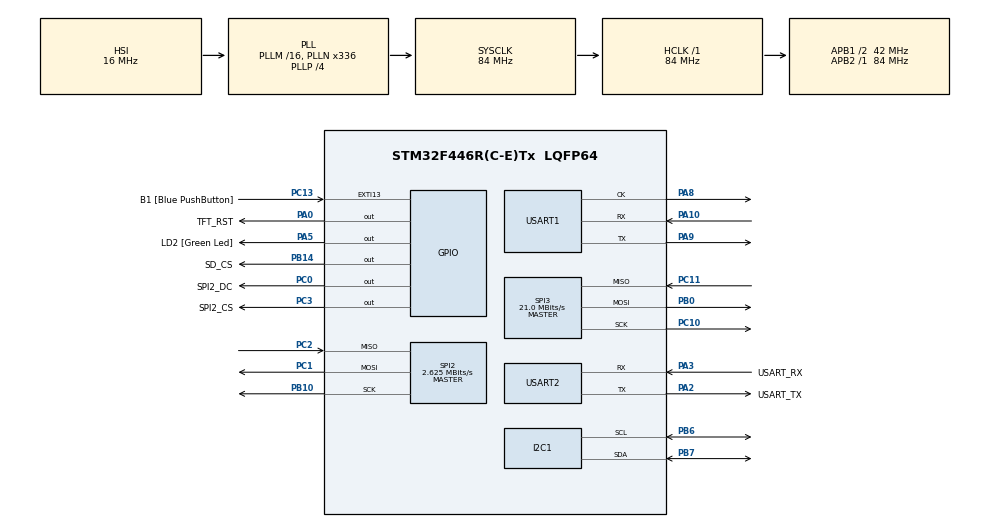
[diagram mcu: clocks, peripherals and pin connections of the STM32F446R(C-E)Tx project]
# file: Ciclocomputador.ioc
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FREERTOS.Tasks01=defaultTask,24,128,StartDefaultTask,Default,NULL,Dynamic,NULL,NULL
FREERTOS.configUSE_NEWLIB_REENTRANT=1
Mcu.Family=STM32F4
Mcu.Name=STM32F446R(C-E)Tx
Mcu.Package=LQFP64
NVIC.PriorityGroup=NVIC_PRIORITYGROUP_4
NVIC.SPI2_IRQn=true\:5\:0\:false\:false\:true\:true\:true\:true\:true
NVIC.TIM8_TRG_COM_TIM14_IRQn=true\:15\:0\:false\:false\:true\:false\:false\:true\:true
NVIC.TimeBase=TIM8_TRG_COM_TIM14_IRQn
NVIC.TimeBaseIP=TIM14
PA0-WKUP.GPIO_Label=TFT_RST
PA0-WKUP.Signal=GPIO_Output
PA10.Mode=Synchronous
PA10.Signal=USART1_RX
PA13.GPIO_Label=TMS
PA13.Mode=Serial_Wire
PA13.Signal=SYS_JTMS-SWDIO
PA14.GPIO_Label=TCK
PA14.Mode=Serial_Wire
PA14.Signal=SYS_JTCK-SWCLK
PA2.GPIO_Label=USART_TX
PA2.Mode=Asynchronous
PA2.Signal=USART2_TX
PA3.GPIO_Label=USART_RX
PA3.Mode=Asynchronous
PA3.Signal=USART2_RX
PA5.GPIO_Label=LD2 [Green Led]
PA5.Signal=GPIO_Output
PA8.Mode=Synchronous
PA8.Signal=USART1_CK
PA9.Mode=Synchronous
PA9.Signal=USART1_TX
PB0.Mode=Full_Duplex_Master
PB0.Signal=SPI3_MOSI
PB10.Mode=Full_Duplex_Master
PB10.Signal=SPI2_SCK
PB14.GPIO_Label=SD_CS
PB14.Signal=GPIO_Output
PB3.GPIO_Label=SWO
PB3.Signal=SYS_JTDO-SWO
PB6.Mode=I2C
PB6.Signal=I2C1_SCL
PB7.Mode=I2C
PB7.Signal=I2C1_SDA
PC0.GPIO_Label=SPI2_DC
PC0.Signal=GPIO_Output
PC1.Mode=Full_Duplex_Master
PC1.Signal=SPI2_MOSI
PC10.Mode=Full_Duplex_Master
PC10.Signal=SPI3_SCK
PC11.GPIO_PuPd=GPIO_PULLUP
PC11.Mode=Full_Duplex_Master
PC11.Signal=SPI3_MISO
PC13.GPIO_Label=B1 [Blue PushButton]
PC13.GPIO_ModeDefaultEXTI=GPIO_MODE_IT_FALLING
PC13.Signal=GPXTI13
PC14-OSC32_IN.Mode=LSE-External-Oscillator
PC14-OSC32_IN.Signal=RCC_OSC32_IN
PC15-OSC32_OUT.Mode=LSE-External-Oscillator
PC15-OSC32_OUT.Signal=RCC_OSC32_OUT
PC2.Mode=Full_Duplex_Master
PC2.Signal=SPI2_MISO
PC3.GPIO_Label=SPI2_CS
PC3.Signal=GPIO_Output
PH0-OSC_IN.Mode=HSE-External-Oscillator
PH0-OSC_IN.Signal=RCC_OSC_IN
PH1-OSC_OUT.Mode=HSE-External-Oscillator
PH1-OSC_OUT.Signal=RCC_OSC_OUT
ProjectManager.HeapSize=0x200
ProjectManager.StackSize=0x400
ProjectManager.TargetToolchain=STM32CubeIDE
RCC.48MHZClocksFreq_Value=84000000
RCC.AHBFreq_Value=84000000
RCC.APB1CLKDivider=RCC_HCLK_DIV2
RCC.APB1Freq_Value=42000000
RCC.APB1TimFreq_Value=84000000
RCC.APB2Freq_Value=84000000
RCC.APB2TimFreq_Value=84000000
RCC.CortexFreq_Value=84000000
RCC.FLatency-AdvancedSettings=FLASH_LATENCY_2
RCC.HCLKFreq_Value=84000000
RCC.HSE_VALUE=8000000
RCC.HSI_VALUE=16000000
RCC.PLLN=336
RCC.PLLP=RCC_PLLP_DIV4
RCC.SYSCLKFreq_VALUE=84000000
RCC.SYSCLKSource=RCC_SYSCLKSOURCE_PLLCLK
RCC.USBFreq_Value=168000000
RCC.VCOOutputFreq_Value=336000000
SPI2.BaudRatePrescaler=SPI_BAUDRATEPRESCALER_16
SPI2.CalculateBaudRate=2.625 MBits/s
SPI2.Direction=SPI_DIRECTION_2LINES
SPI2.Mode=SPI_MODE_MASTER
SPI2.VirtualType=VM_MASTER
SPI3.CalculateBaudRate=21.0 MBits/s
SPI3.Direction=SPI_DIRECTION_2LINES
SPI3.Mode=SPI_MODE_MASTER
SPI3.VirtualType=VM_MASTER
USART1.VirtualMode=VM_SYNC
USART2.VirtualMode=VM_ASYNC
VP_FATFS_VS_Generic.Mode=User_defined
VP_FREERTOS_VS_CMSIS_V2.Mode=CMSIS_V2
VP_SYS_VS_tim14.Mode=TIM14
board=NUCLEO-F446RE

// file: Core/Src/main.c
/* USER CODE BEGIN Header */
/**
  ******************************************************************************
  * @file           : main.c
  * @brief          : Main program body
  ******************************************************************************
  * @attention
  *
  * Copyright (c) 2026 STMicroelectronics.
  * All rights reserved.
  *
  * This software is licensed under terms that can be found in the LICENSE file
  * in the root directory of this software component.
  * If no LICENSE file comes with this software, it is provided AS-IS.
  *
  ******************************************************************************
  */
/* USER CODE END Header */
#include "main.h"
#include "cmsis_os.h"
#include "i2c.h"
#include "spi.h"
#include "usart.h"
#include "gpio.h"

/* USER CODE BEGIN Includes */
#include <stdio.h>
#include "GUI.h"
#include "queue.h"
#include "fit_task.h"
#include "fatfs.h"
#include "math.h"
/* USER CODE END Includes */

/* USER CODE BEGIN PV */
extern TaskHandle_t lvgl_task_handle;
/* USER CODE END PV */

void SystemClock_Config(void);
void MX_FREERTOS_Init(void);

/* USER CODE BEGIN 0 */

#define SC_PER_M 107.173

#define DEG_TO_SC (2147483648.0 / 180.0)
#define LAT0_SC   ((FIT_SINT32)(-34.6037 * DEG_TO_SC))   // punto de partida (Buenos Aires)
#define LON0_SC   ((FIT_SINT32)(-58.3816 * DEG_TO_SC))

void TaskUpdateDashboard(void* p){
	float tiempo=0;
	Dashboard_data_t datos;
	DatoProcesamiento_t datos_sd;
	EventoPulsador_t evento =EVENTO_BOTON_START;

	char tiempo_str[9]="00:00:00";

	xQueueSend(Queue_evento_sd,&evento,portMAX_DELAY);

	while(1){
		tiempo+=0.2;
		datos.speed=10+tiempo*0.5;
		datos.altitude=500+tiempo*0.01;
		datos.avg_speed=34.2+tiempo*0.8;
		datos.battery=100-tiempo*0.5;
		datos.distance=40+tiempo;
		datos.slope=20-tiempo*0.2;

		//snprintf(tiempo_str, sizeof(tiempo_str), "01:20:%d",(int)tiempo);
		datos.time = tiempo_str;
		datos.satellites=3;

		datos_sd.speed=10+tiempo*0.5;
		datos_sd.enhanced_altitude=500+tiempo*0.01;
		datos_sd.distance=40+tiempo;
		datos_sd.position_lat=LAT0_SC + (FIT_SINT32)(50.0 * sin(tiempo * 0.05) * SC_PER_M);;
		datos_sd.position_long=LON0_SC +((FIT_SINT32)(tiempo * SC_PER_M));

		dashboard_update(datos);
		xQueueSend(Queue_dato_sd,&datos_sd,100);

		if(tiempo>=0.2*2000){
			evento=EVENTO_BOTON_STOP;
 			xQueueSend(Queue_evento_sd,&evento,portMAX_DELAY);
		}

		vTaskDelay(5);
	}
}

/* USER CODE END 0 */

int main(void)
{

  /* MCU Configuration--------------------------------------------------------*/

  /* Reset of all peripherals, Initializes the Flash interface and the Systick. */
  HAL_Init();

  /* Configure the system clock */
  SystemClock_Config();

  /* Initialize all configured peripherals */
  MX_GPIO_Init();
  MX_SPI2_Init();
  MX_USART2_UART_Init();
  MX_I2C1_Init();
  MX_SPI3_Init();
  MX_USART1_Init();
  MX_FATFS_Init();
  /* USER CODE BEGIN 2 */

  Queue_dashboard = xQueueCreate(1, sizeof(Dashboard_data_t));

  init_task_fit();

  xTaskCreate(
		  TaskUpdateDashboard,
  	          "Task_update_data",
  	          configMINIMAL_STACK_SIZE,
  	          NULL,
  	          tskIDLE_PRIORITY + 2,
  	          NULL
  	      );

  xTaskCreate(
  	          vTaskLVGL,
  	          "LVGL_Task",
  	          2048,
  	          NULL,
  	          tskIDLE_PRIORITY + 2,
  	          &lvgl_task_handle
  	      );

  /* USER CODE END 2 */

  /* Init scheduler */
  osKernelInitialize();  /* Call init function for freertos objects (in cmsis_os2.c) */
  MX_FREERTOS_Init();

  /* Start scheduler */
  osKernelStart();

  /* We should never get here as control is now taken by the scheduler */

  /* Infinite loop */
  while (1)
  {

  }
}

void SystemClock_Config(void)
{
  RCC_OscInitTypeDef RCC_OscInitStruct = {0};
  RCC_ClkInitTypeDef RCC_ClkInitStruct = {0};

  /** Configure the main internal regulator output voltage
  */
  __HAL_RCC_PWR_CLK_ENABLE();
  __HAL_PWR_VOLTAGESCALING_CONFIG(PWR_REGULATOR_VOLTAGE_SCALE3);

  /** Initializes the RCC Oscillators according to the specified parameters
  * in the RCC_OscInitTypeDef structure.
  */
  RCC_OscInitStruct.OscillatorType = RCC_OSCILLATORTYPE_HSI;
  RCC_OscInitStruct.HSIState = RCC_HSI_ON;
  RCC_OscInitStruct.HSICalibrationValue = RCC_HSICALIBRATION_DEFAULT;
  RCC_OscInitStruct.PLL.PLLState = RCC_PLL_ON;
  RCC_OscInitStruct.PLL.PLLSource = RCC_PLLSOURCE_HSI;
  RCC_OscInitStruct.PLL.PLLM = 16;
  RCC_OscInitStruct.PLL.PLLN = 336;
  RCC_OscInitStruct.PLL.PLLP = RCC_PLLP_DIV4;
  RCC_OscInitStruct.PLL.PLLQ = 2;
  RCC_OscInitStruct.PLL.PLLR = 2;
  if (HAL_RCC_OscConfig(&RCC_OscInitStruct) != HAL_OK)
  {
    Error_Handler();
  }

  /** Initializes the CPU, AHB and APB buses clocks
  */
  RCC_ClkInitStruct.ClockType = RCC_CLOCKTYPE_HCLK|RCC_CLOCKTYPE_SYSCLK
                              |RCC_CLOCKTYPE_PCLK1|RCC_CLOCKTYPE_PCLK2;
  RCC_ClkInitStruct.SYSCLKSource = RCC_SYSCLKSOURCE_PLLCLK;
  RCC_ClkInitStruct.AHBCLKDivider = RCC_SYSCLK_DIV1;
  RCC_ClkInitStruct.APB1CLKDivider = RCC_HCLK_DIV2;
  RCC_ClkInitStruct.APB2CLKDivider = RCC_HCLK_DIV1;

  if (HAL_RCC_ClockConfig(&RCC_ClkInitStruct, FLASH_LATENCY_2) != HAL_OK)
  {
    Error_Handler();
  }
}

void HAL_TIM_PeriodElapsedCallback(TIM_HandleTypeDef *htim)
{
  if (htim->Instance == TIM14)
  {
    HAL_IncTick();
  }
}

void Error_Handler(void)
{
  __disable_irq();
  while (1)
  {
  }
}
